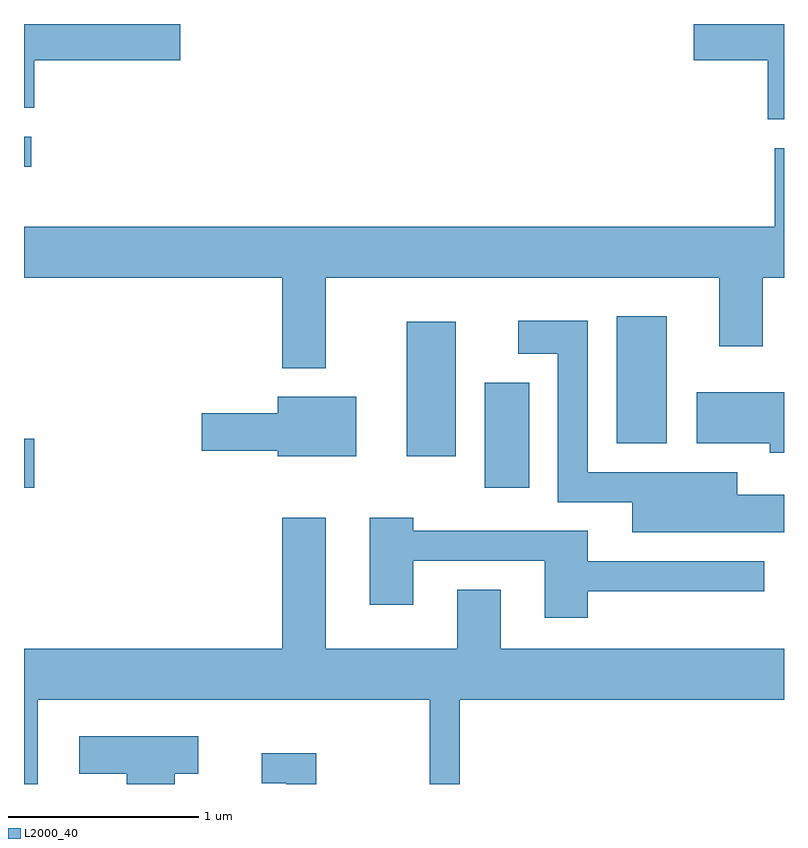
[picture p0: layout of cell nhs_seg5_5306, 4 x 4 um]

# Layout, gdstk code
import gdstk
lib = gdstk.Library(unit=1e-6, precision=1e-09)
def R(c, l, rs):  # rectangles x0, y0, x1, y1
    for r in rs: c.add(gdstk.rectangle(r[:2], r[2:], *l))
def P(c, l, *ps):  # polygons
    for p in ps: c.add(gdstk.Polygon(p, *l))
L2000_40 = (2000, 40)

nhs_seg5_5306 = lib.new_cell('nhs_seg5_5306')
R(nhs_seg5_5306, L2000_40, [(341.611,1515.631,341.664,1515.889), (344.036,1515.631,344.269,1516.184), (343.626,1515.796,343.884,1516.504), (344.731,1515.866,344.994,1516.534), (341.611,1517.321,341.648,1517.479)])
P(nhs_seg5_5306, L2000_40, [(345.611,1518.072),(345.136,1518.072),(345.136,1517.881),(345.526,1517.881),(345.526,1517.571),(345.611,1517.571)],
  [(341.664,1517.881),(342.434,1517.881),(342.434,1518.072),(341.611,1518.072),(341.611,1517.631),(341.664,1517.631)],
  [(343.199,1516.736),(345.271,1516.736),(345.271,1516.376),(345.499,1516.376),(345.499,1516.736),(345.611,1516.736),(345.611,1517.419),(345.561,1517.419),(345.561,1517.004),(341.611,1517.004),(341.611,1516.736),(342.971,1516.736),(342.971,1516.261),(343.199,1516.261)],
  [(345.611,1515.594),(345.364,1515.594),(345.364,1515.714),(344.579,1515.714),(344.579,1516.509),(344.211,1516.509),(344.211,1516.336),(344.421,1516.336),(344.421,1515.556),(344.811,1515.556),(344.811,1515.396),(345.611,1515.396)],
  [(345.611,1516.134),(345.151,1516.134),(345.151,1515.866),(345.536,1515.866),(345.536,1515.816),(345.611,1515.816)],
  [(343.359,1516.109),(342.946,1516.109),(342.946,1516.024),(342.546,1516.024),(342.546,1515.826),(342.946,1515.826),(342.946,1515.796),(343.359,1515.796)],
  [(344.579,1515.086),(345.508,1515.086),(345.508,1515.244),(344.579,1515.244),(344.579,1515.404),(343.659,1515.404),(343.659,1515.474),(343.431,1515.474),(343.431,1515.016),(343.659,1515.016),(343.659,1515.246),(344.351,1515.246),(344.351,1514.946),(344.579,1514.946)],
  [(341.684,1514.516),(343.746,1514.516),(343.746,1514.072),(343.904,1514.072),(343.904,1514.516),(345.611,1514.516),(345.611,1514.784),(344.119,1514.784),(344.119,1515.094),(343.891,1515.094),(343.891,1514.784),(343.199,1514.784),(343.199,1515.474),(342.971,1515.474),(342.971,1514.784),(341.611,1514.784),(341.611,1514.072),(341.684,1514.072)],
  [(342.404,1514.126),(342.529,1514.126),(342.529,1514.324),(341.901,1514.324),(341.901,1514.126),(342.151,1514.126),(342.151,1514.072),(342.404,1514.072)],
  [(343.149,1514.234),(342.863,1514.234),(342.863,1514.076),(342.991,1514.076),(342.991,1514.072),(343.149,1514.072)])

lib.write_gds('nhs_seg5_5306.gds')
